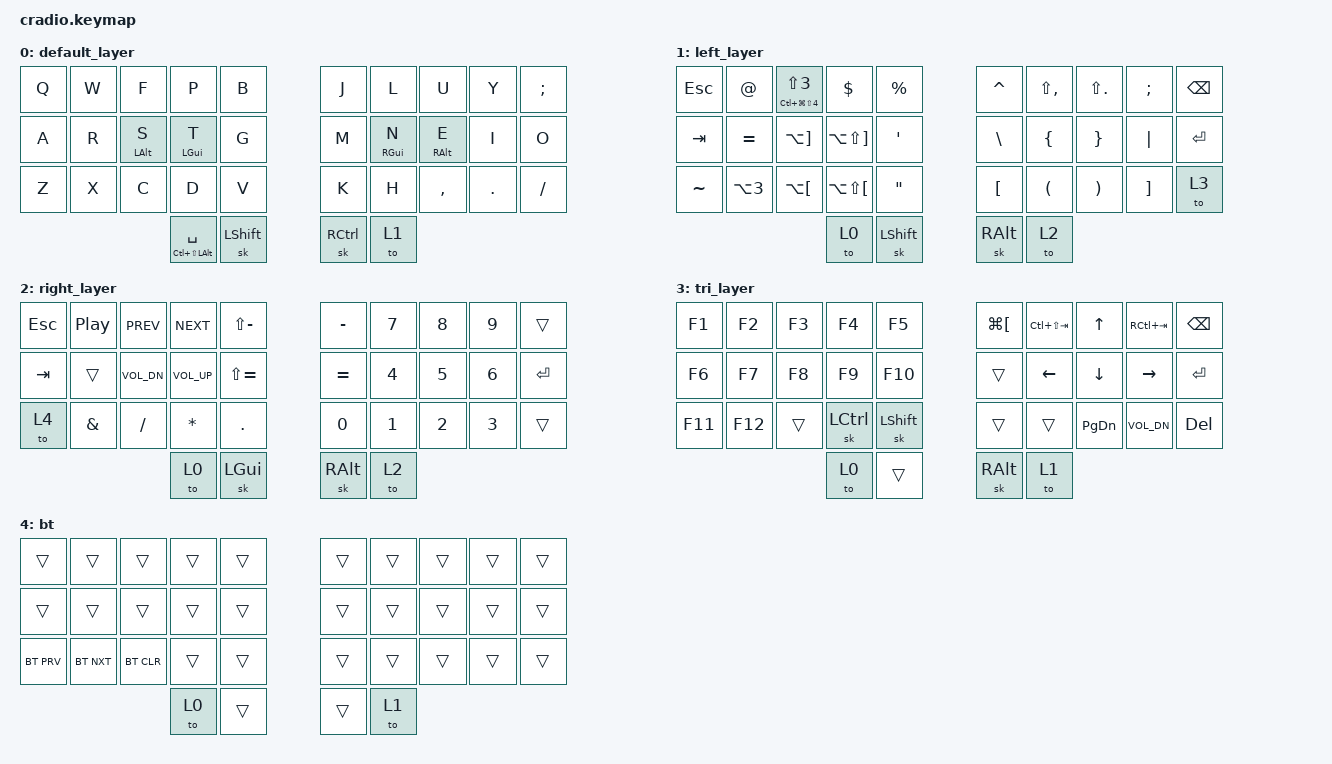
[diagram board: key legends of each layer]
// Copyright (c) 2022 The ZMK Contributors
// SPDX-License-Identifier: MIT

#include <behaviors.dtsi>
#include <dt-bindings/zmk/bt.h>
#include <dt-bindings/zmk/keys.h>

&mt {
    flavor = "tap-preferred";
    tapping_term_ms = <200>;
};

&mmv {
    time-to-max-speed-ms = <680>;
    acceleration-exponent = <2>;
};

&msc {
    time-to-max-speed-ms = <680>;
    acceleration-exponent = <2>;
};

/ {
    behaviors {
        hm: homerow_mods {
            compatible = "zmk,behavior-hold-tap";
            label = "HOMEROW_MODS";
            #binding-cells = <2>;
            tapping-term-ms = <200>;
            quick_tap_ms = <0>;
            flavor = "tap-preferred";
            bindings = <&kp>, <&kp>;
        };

        td: tapdance {
            compatible = "zmk,behavior-hold-tap";
            label = "TAPDANCE";
            #binding-cells = <2>;
            tapping-term-ms = <150>;
            quick_tap_ms = <0>;
            flavor = "tap-preferred";
            bindings = <&kp>, <&kp>;
        };
    };

    keymap {
        compatible = "zmk,keymap";

        default_layer {
            bindings = <
&kp Q  &kp W  &kp F       &kp P                   &kp B         &kp J      &kp L       &kp U       &kp Y    &kp SEMICOLON
&kp A  &kp R  &hm LALT S  &hm LGUI T              &kp G         &kp M      &hm RGUI N  &hm RALT E  &kp I    &kp O
&kp Z  &kp X  &kp C       &kp D                   &kp V         &kp K      &kp H       &kp COMMA   &kp DOT  &kp SLASH
                          &mt LC(LS(LALT)) SPACE  &sk LSHIFT    &sk RCTRL  &to 1
            >;
        };

        left_layer {
            bindings = <
&kp ESC    &kp AT      &td LC(LG(LS(N4))) LS(N3)  &kp DLLR          &kp PRCNT     &kp CARET  &kp LS(COMMA)         &kp LS(DOT)            &kp SEMI  &kp BACKSPACE
&kp TAB    &kp EQUAL   &kp LA(RBKT)               &kp LA(LS(RBKT))  &kp SQT       &kp BSLH   &kp LBRC              &kp RBRC               &kp PIPE  &kp ENTER
&kp TILDE  &kp LA(N3)  &kp LA(LBKT)               &kp LA(LS(LBKT))  &kp DQT       &kp LBKT   &kp LEFT_PARENTHESIS  &kp RIGHT_PARENTHESIS  &kp RBKT  &to 3
                                                  &to 0             &sk LSHIFT    &sk RALT   &to 2
            >;
        };

        right_layer {
            bindings = <
&kp ESC  &kp C_PP  &kp C_PREV    &kp C_NEXT    &kp LS(MINUS)    &kp MINUS  &kp N7  &kp N8  &kp N9  &trans
&kp TAB  &trans    &kp C_VOL_DN  &kp C_VOL_UP  &kp LS(EQUAL)    &kp EQUAL  &kp N4  &kp N5  &kp N6  &kp ENTER
&to 4    &kp AMPS  &kp SLASH     &kp STAR      &kp DOT          &kp N0     &kp N1  &kp N2  &kp N3  &trans
                                 &to 0         &sk LGUI         &sk RALT   &to 2
            >;
        };

        tri_layer {
            bindings = <
&kp F1   &kp F2   &kp F3  &kp F4     &kp F5        &kp LG(LBKT)   &kp LC(LS(TAB))  &kp UP     &kp RC(TAB)   &kp BACKSPACE
&kp F6   &kp F7   &kp F8  &kp F9     &kp F10       &trans         &kp LEFT         &kp DOWN   &kp RIGHT     &kp ENTER
&kp F11  &kp F12  &trans  &sk LCTRL  &sk LSHIFT    &trans         &trans           &kp PG_DN  &kp K_VOL_DN  &kp DEL
                          &to 0      &trans        &sk RIGHT_ALT  &to 1
            >;
        };

        bt {
            bindings = <
&trans      &trans      &trans      &trans  &trans    &trans  &trans  &trans  &trans  &trans
&trans      &trans      &trans      &trans  &trans    &trans  &trans  &trans  &trans  &trans
&bt BT_PRV  &bt BT_NXT  &bt BT_CLR  &trans  &trans    &trans  &trans  &trans  &trans  &trans
                                    &to 0   &trans    &trans  &to 1
            >;
        };
    };
};
